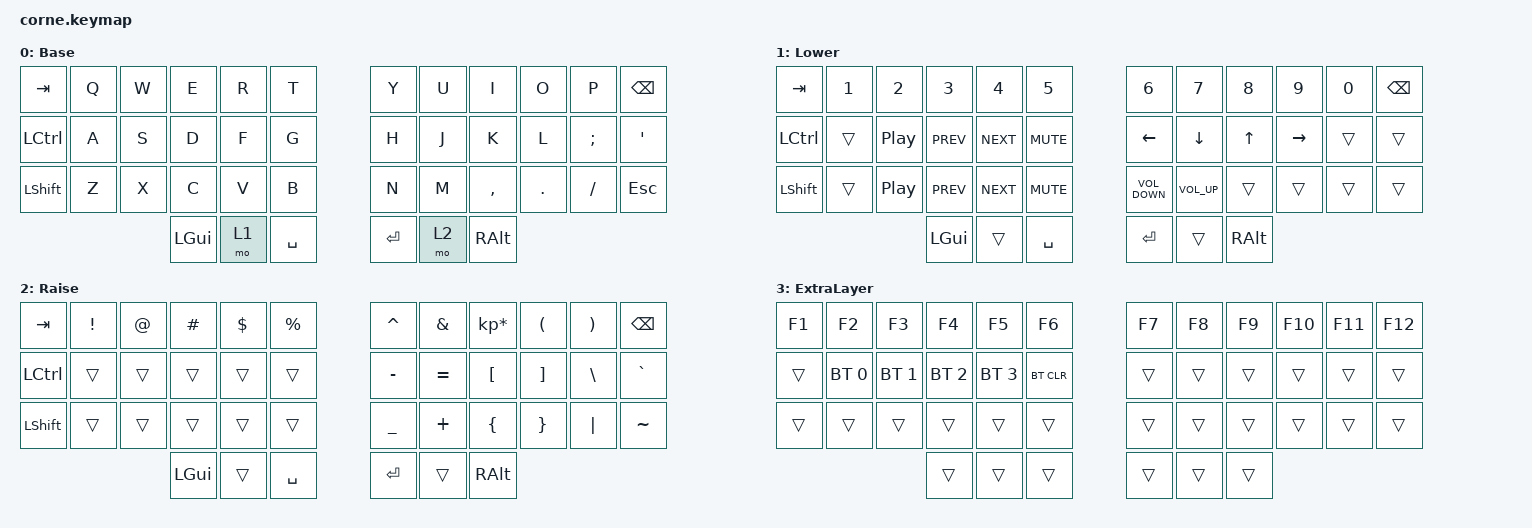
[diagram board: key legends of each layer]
/*
 * Copyright (c) 2020 The ZMK Contributors
 *
 * SPDX-License-Identifier: MIT
 */

#include <behaviors.dtsi>
#include <dt-bindings/zmk/bt.h>
#include <dt-bindings/zmk/keys.h>

/ {
    keymap {
        compatible = "zmk,keymap";

        default_layer {
            // -----------------------------------------------------------------------------------------
            // |  TAB |  Q  |  W  |  E  |  R  |  T  |   |  Y  |  U   |  I  |  O  |  P  | BKSP |
            // | CTRL |  A  |  S  |  D  |  F  |  G  |   |  H  |  J   |  K  |  L  |  ;  |  '   |
            // | SHFT |  Z  |  X  |  C  |  V  |  B  |   |  N  |  M   |  ,  |  .  |  /  | ESC  |
            //                    | GUI | LWR | SPC |   | ENT | RSE  | ALT |

            display-name = "Base";
            bindings = <
&kp TAB    &kp Q  &kp W  &kp E     &kp R  &kp T        &kp Y    &kp U  &kp I      &kp O    &kp P     &kp BSPC
&kp LCTRL  &kp A  &kp S  &kp D     &kp F  &kp G        &kp H    &kp J  &kp K      &kp L    &kp SEMI  &kp SQT
&kp LSHFT  &kp Z  &kp X  &kp C     &kp V  &kp B        &kp N    &kp M  &kp COMMA  &kp DOT  &kp FSLH  &kp ESC
                         &kp LGUI  &mo 1  &kp SPACE    &kp RET  &mo 2  &kp RALT
            >;

            label = "Base";
        };

        lower_layer {
            // -----------------------------------------------------------------------------------------
            // |  TAB |  1  |  2  |  3  |  4  |  5  |   |  6  |  7  |  8  |  9  |  0  | BKSP |
            // | BTCLR| BT1 | BT2 | BT3 | BT4 | BT5 |   | LFT | DWN |  UP | RGT |     |      |
            // | SHFT |     |     |     |     |     |   |     |     |     |     |     |      |
            //                    | GUI |     | SPC |   | ENT |     | ALT |

            display-name = "Lower";
            bindings = <
&kp TAB    &kp N1  &kp N2    &kp N3      &kp N4      &kp N5        &kp N6             &kp N7        &kp N8    &kp N9     &kp N0  &kp BSPC
&kp LCTRL  &trans  &kp C_PP  &kp C_PREV  &kp C_NEXT  &kp K_MUTE    &kp LEFT           &kp DOWN      &kp UP    &kp RIGHT  &trans  &trans
&kp LSHFT  &trans  &kp C_PP  &kp C_PREV  &kp C_NEXT  &kp K_MUTE    &kp K_VOLUME_DOWN  &kp K_VOL_UP  &trans    &trans     &trans  &trans
                             &kp LGUI    &trans      &kp SPACE     &kp RET            &trans        &kp RALT
            >;

            label = "Lower";
        };

        raise_layer {
            // -----------------------------------------------------------------------------------------
            // |  TAB |  !  |  @  |  #  |  $  |  %  |   |  ^  |  &  |  *  |  (  |  )  | BKSP |
            // | CTRL |     |     |     |     |     |   |  -  |  =  |  [  |  ]  |  \  |  `   |
            // | SHFT |     |     |     |     |     |   |  _  |  +  |  {  |  }  | "|" |  ~   |
            //                    | GUI |     | SPC |   | ENT |     | ALT |

            display-name = "Raise";
            bindings = <
&kp TAB    &kp EXCL  &kp AT  &kp HASH  &kp DLLR  &kp PRCNT    &kp CARET  &kp AMPS   &kp KP_MULTIPLY  &kp LPAR  &kp RPAR  &kp BSPC
&kp LCTRL  &trans    &trans  &trans    &trans    &trans       &kp MINUS  &kp EQUAL  &kp LBKT         &kp RBKT  &kp BSLH  &kp GRAVE
&kp LSHFT  &trans    &trans  &trans    &trans    &trans       &kp UNDER  &kp PLUS   &kp LBRC         &kp RBRC  &kp PIPE  &kp TILDE
                             &kp LGUI  &trans    &kp SPACE    &kp RET    &trans     &kp RALT
            >;

            label = "Raise";
        };

        extra_layer {
            bindings = <
&kp F1  &kp F2        &kp F3        &kp F4        &kp F5        &kp F6        &kp F7  &kp F8  &kp F9  &kp F10  &kp F11  &kp F12
&trans  &bt BT_SEL 0  &bt BT_SEL 1  &bt BT_SEL 2  &bt BT_SEL 3  &bt BT_CLR    &trans  &trans  &trans  &trans   &trans   &trans
&trans  &trans        &trans        &trans        &trans        &trans        &trans  &trans  &trans  &trans   &trans   &trans
                                    &trans        &trans        &trans        &trans  &trans  &trans
            >;

            label = "ExtraLayer";
        };
    };

    conditional_layers {
        compatible = "zmk,conditional-layers";

        extra_layer {
            if-layers = <1 2>;
            then-layer = <3>;
        };
    };
};
